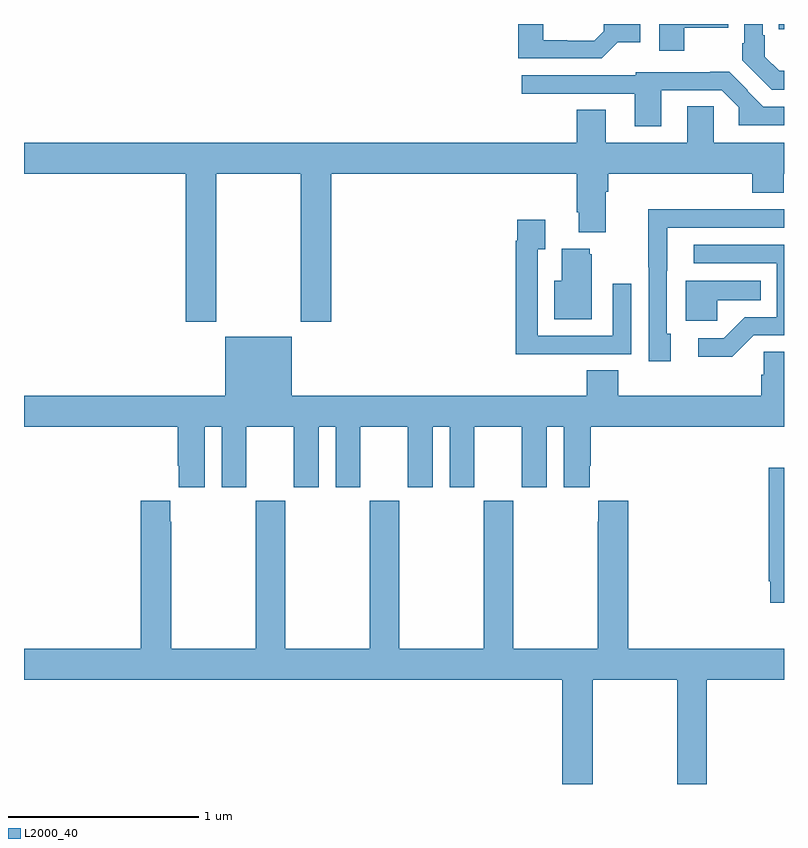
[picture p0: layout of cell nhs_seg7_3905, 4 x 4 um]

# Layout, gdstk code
import gdstk
lib = gdstk.Library(unit=1e-6, precision=1e-09)
def R(c, l, rs):  # rectangles x0, y0, x1, y1
    for r in rs: c.add(gdstk.rectangle(r[:2], r[2:], *l))
def P(c, l, *ps):  # polygons
    for p in ps: c.add(gdstk.Polygon(p, *l))
L2000_40 = (2000, 40)

nhs_seg7_3905 = lib.new_cell('nhs_seg7_3905')
R(nhs_seg7_3905, L2000_40, [(360.973,1071.972,361,1072)])
P(nhs_seg7_3905, L2000_40, [(360.126,1071.905),(360.244,1071.905),(360.244,1072),(360.051,1072),(360.051,1071.963),(360,1071.912),(359.858,1071.912),(359.858,1071.915),(359.734,1071.915),(359.734,1072),(359.6,1072),(359.6,1071.819),(360.04,1071.819)],
  [(360.474,1071.98),(360.707,1071.98),(360.707,1072),(360.344,1072),(360.344,1071.858),(360.474,1071.858)],
  [(361,1071.753),(360.974,1071.753),(360.898,1071.828),(360.898,1071.94),(360.888,1071.94),(360.888,1072),(360.792,1072),(360.792,1071.898),(360.78,1071.898),(360.78,1071.809),(360.935,1071.654),(361,1071.654)],
  [(360.355,1071.651),(360.672,1071.651),(360.763,1071.561),(360.763,1071.468),(361,1071.468),(361,1071.564),(360.891,1071.564),(360.806,1071.649),(360.809,1071.652),(360.711,1071.75),(360.611,1071.75),(360.611,1071.747),(360.219,1071.747),(360.219,1071.729),(359.619,1071.729),(359.619,1071.633),(360.215,1071.633),(360.215,1071.462),(360.355,1071.462)],
  [(358.011,1071.212),(358.456,1071.212),(358.456,1070.433),(358.616,1070.433),(358.616,1071.212),(359.909,1071.212),(359.909,1071.01),(359.921,1071.01),(359.921,1070.903),(360.061,1070.903),(360.061,1071.116),(360.074,1071.116),(360.074,1071.212),(360.833,1071.212),(360.833,1071.113),(360.998,1071.113),(360.998,1071.212),(361,1071.212),(361,1071.376),(360.63,1071.376),(360.63,1071.566),(360.491,1071.566),(360.491,1071.376),(360.061,1071.376),(360.061,1071.548),(359.909,1071.548),(359.909,1071.376),(357,1071.376),(357,1071.212),(357.851,1071.212),(357.851,1070.433),(358.011,1070.433)],
  [(360.403,1070.37),(360.384,1070.37),(360.384,1070.701),(360.385,1070.701),(360.385,1070.928),(361,1070.928),(361,1071.024),(360.749,1071.024),(360.749,1071.026),(360.286,1071.026),(360.286,1070.719),(360.288,1070.719),(360.288,1070.226),(360.403,1070.226)],
  [(359.879,1070.262),(360.195,1070.262),(360.195,1070.632),(360.099,1070.632),(360.099,1070.358),(359.703,1070.358),(359.703,1070.815),(359.743,1070.815),(359.743,1070.971),(359.595,1070.971),(359.595,1070.858),(359.587,1070.858),(359.587,1070.261),(359.879,1070.261)],
  [(360.84,1070.361),(361,1070.361),(361,1070.838),(360.525,1070.838),(360.525,1070.742),(360.963,1070.742),(360.963,1070.457),(360.794,1070.457),(360.683,1070.346),(360.549,1070.346),(360.549,1070.249),(360.727,1070.249)],
  [(359.989,1070.787),(359.978,1070.787),(359.978,1070.818),(359.831,1070.818),(359.831,1070.65),(359.792,1070.65),(359.792,1070.447),(359.989,1070.447)],
  [(360.648,1070.546),(360.878,1070.546),(360.878,1070.65),(360.482,1070.65),(360.482,1070.438),(360.648,1070.438)],
  [(357.952,1069.88),(358.04,1069.88),(358.04,1069.563),(358.171,1069.563),(358.171,1069.88),(358.421,1069.88),(358.421,1069.563),(358.552,1069.563),(358.552,1069.88),(358.64,1069.88),(358.64,1069.563),(358.771,1069.563),(358.771,1069.88),(359.021,1069.88),(359.021,1069.563),(359.152,1069.563),(359.152,1069.88),(359.24,1069.88),(359.24,1069.563),(359.371,1069.563),(359.371,1069.88),(359.621,1069.88),(359.621,1069.563),(359.752,1069.563),(359.752,1069.88),(359.84,1069.88),(359.84,1069.563),(359.977,1069.563),(359.977,1069.675),(359.984,1069.675),(359.984,1069.88),(361,1069.88),(361,1070.276),(360.894,1070.276),(360.894,1070.153),(360.881,1070.153),(360.881,1070.044),(360.128,1070.044),(360.128,1070.177),(359.963,1070.177),(359.963,1070.044),(358.408,1070.044),(358.408,1070.353),(358.058,1070.353),(358.058,1070.044),(357,1070.044),(357,1069.88),(357.809,1069.88),(357.809,1069.675),(357.815,1069.675),(357.815,1069.563),(357.952,1069.563)],
  [(361,1069.664),(360.919,1069.664),(360.919,1069.066),(360.927,1069.066),(360.927,1068.954),(361,1068.954)],
  [(359.994,1068.548),(360.439,1068.548),(360.439,1068),(360.594,1068),(360.594,1068.548),(361,1068.548),(361,1068.712),(360.179,1068.712),(360.179,1069.492),(360.023,1069.492),(360.023,1069.379),(360.019,1069.379),(360.019,1068.712),(359.574,1068.712),(359.574,1069.492),(359.419,1069.492),(359.419,1068.712),(358.974,1068.712),(358.974,1069.492),(358.819,1069.492),(358.819,1068.712),(358.374,1068.712),(358.374,1069.492),(358.219,1069.492),(358.219,1068.712),(357.774,1068.712),(357.774,1069.379),(357.769,1069.379),(357.769,1069.492),(357.614,1069.492),(357.614,1068.712),(357,1068.712),(357,1068.548),(359.834,1068.548),(359.834,1068),(359.994,1068)])

lib.write_gds('nhs_seg7_3905.gds')
